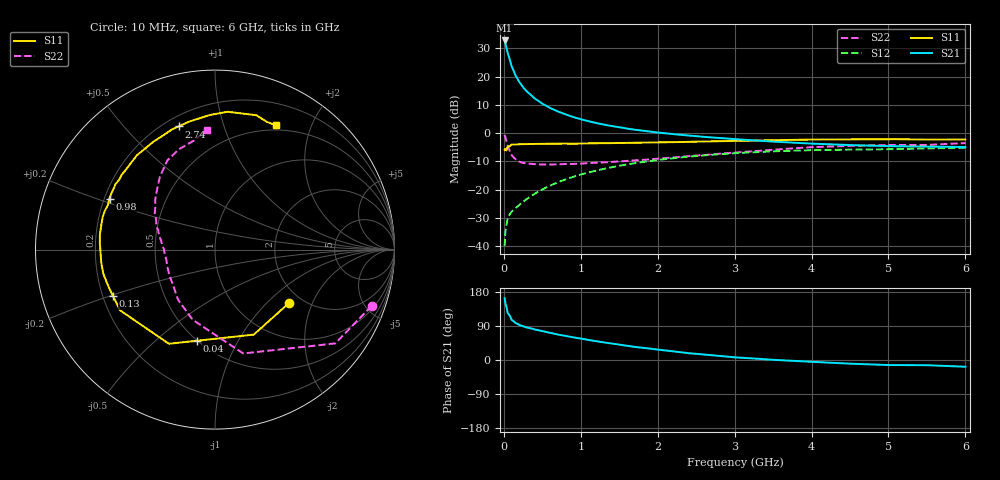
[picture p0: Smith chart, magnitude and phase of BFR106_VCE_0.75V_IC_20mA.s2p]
! Infineon Technologies  Discrete & RF Semiconductors
! BFR106
! VCE = 0.75 V,  IC =  20 mA
! Common Emitter S-Parameters:  Nov 2015
# GHz  S  MA  R  50
!  f  S11  S21  S12  S22
! GHz  MAG  ANG  MAG  ANG  MAG  ANG  MAG  ANG
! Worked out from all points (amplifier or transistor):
!   210 points, 10 MHz to 6 GHz, reference 50 ohm
!   highest |S21| = 32.8 dB at 10 MHz (marker M1)
!   |S21| within 3 dB of that: start of sweep to 37.43 MHz
!   unconditionally stable (mu >= 1): 324.3 MHz to end of sweep
!   at 185 MHz: K = 0.80, MSG = 22.4 dB, |S12| = -25.8 dB
!   at 1.52 GHz: K = 1.09, MAG = 5.0 dB, |S12| = -11.5 dB
!   at 6 GHz: K = 1.03, MAG = -0.9 dB, |S12| = -5.2 dB
!   S11 on the Smith chart (normalised r, x): 10 MHz: 1.71, -1.37; 40 MHz: 0.50, -0.69; 130 MHz: 0.24, -0.20; 980 MHz: 0.22, +0.22; 2.74 GHz: 0.25, +0.72; 6 GHz: 0.44, +1.51
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0.01  0.5087 -35.7  43.88 163.3  0.0099 77.7  0.927 -19.8
0.02  0.5207 -65.5  39.61 149.8  0.0176 66.4  0.85 -37.9
0.04  0.5173 -101.1  29.97 134.9  0.0265 52.7  0.6491 -59.6
0.05  0.5842 -116.1  26.31 123.8  0.0312 48.9  0.5998 -74.8
0.1  0.6284 -147.5  15.4 106.1  0.0405 44.7  0.4103 -107.7
0.13  0.6244 -155.5  12.48 101.8  0.044 46.3  0.3674 -118.2
0.15  0.6285 -160.8  10.59 97.7  0.0463 47.2  0.3469 -126.4
0.2  0.6365 -167.8  8.084 92.6  0.0534 50.5  0.3112 -137.5
0.24  0.6372 -172.1  6.791 89.6  0.0591 52.5  0.2986 -144.7
0.3  0.6376 -177.1  5.431 85.7  0.0681 55.9  0.2901 -152.2
0.4  0.6427 176.8  4.123 80.6  0.0838 59.2  0.2814 -160.8
0.5  0.6467 172.7  3.323 76.0  0.1002 60.8  0.2775 -166.6
0.6  0.6484 168.0  2.794 71.5  0.1171 61.2  0.2769 -170.4
0.98  0.6528 154.2  1.793 57.2  0.1809 58.9  0.2868 178.5
1.02  0.6551 152.9  1.732 55.7  0.1875 58.4  0.2888 177.7
1.4  0.6663 141.2  1.334 43.7  0.2479 53.2  0.3081 169.5
2.02  0.6853 124.0  1.018 27.0  0.3364 43.0  0.3551 156.9
2.74  0.7157 106.5  0.831 11.9  0.4159 30.9  0.4245 141.7
3.1  0.7307 99.5  0.766 5.9  0.4464 24.9  0.4616 134.5
4.1  0.7708 83.5  0.643 -5.7  0.5001 10.1  0.5686 116.4
5.1  0.7799 71.9  0.584 -13.4  0.5213 -1.3  0.6157 101.9
6  0.7704 63.9  0.567 -17.8  0.5515 -9.8  0.6658 94.0
